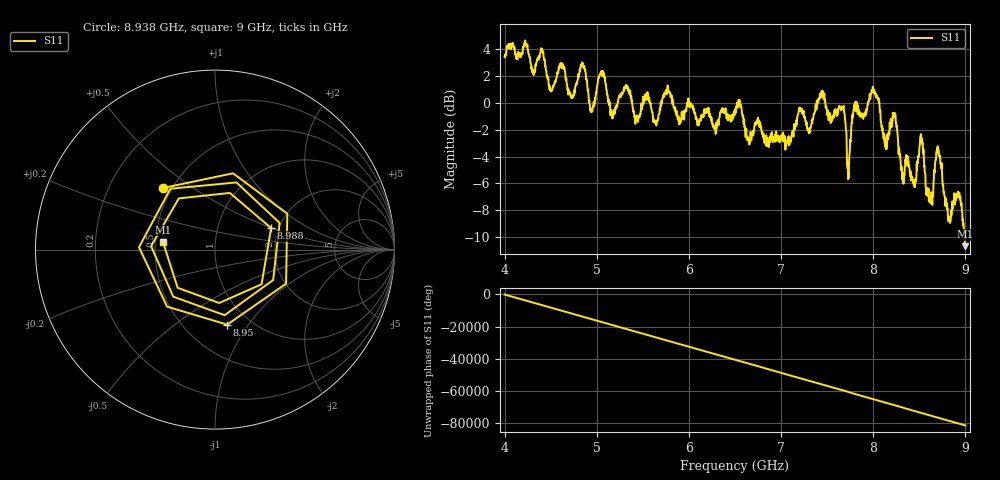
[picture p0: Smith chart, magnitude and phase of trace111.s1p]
! Created with skrf 1.8.0 (http://scikit-rf.org).
# Hz S RI R 50.0
!freq ReS11 ImS11
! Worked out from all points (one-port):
!   1601 points, 4 GHz to 9 GHz, reference 50 ohm
!   lowest |S11| = -10.7 dB at 9 GHz (marker M1), VSWR 1.83, Z = 27.4 + j2.59 ohm
!   |S11| at or under -10 dB: 8.991835 GHz to end of sweep
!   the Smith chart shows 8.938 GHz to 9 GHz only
!   S11 on the Smith chart (normalised r, x): 8.938 GHz: 0.45, +0.39; 8.95 GHz: 0.79, -0.80; 8.988 GHz: 1.82, +0.49; 9 GHz: 0.55, +0.05
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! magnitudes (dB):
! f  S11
! 4 GHz  3.4
! 4.406 GHz  4.0
! 4.503 GHz  0.8
! 4.625 GHz  2.5
! 4.728 GHz  0.4
! 4.853 GHz  2.7
! 4.944 GHz  -0.7
! 5.053 GHz  2.3
! 5.172 GHz  -1.2
! 5.25 GHz  0.5
! 5.875 GHz  -1.1
! 6.5 GHz  -0.8
! 7.125 GHz  -2.5
! 7.447 GHz  0.6
! 7.75 GHz  -2.8
! 7.797 GHz  -0.6
! 8 GHz  0.8
! 8.125 GHz  -3.0
! 8.375 GHz  -4.6
! 8.444 GHz  -5.7
! 8.525 GHz  -2.9
! 8.625 GHz  -7.0
! 8.703 GHz  -3.7
! 8.816 GHz  -8.4
! 8.938 GHz  -7.0
! 8.95 GHz  -7.5
! 8.988 GHz  -9.5
! 9 GHz  -10.7
